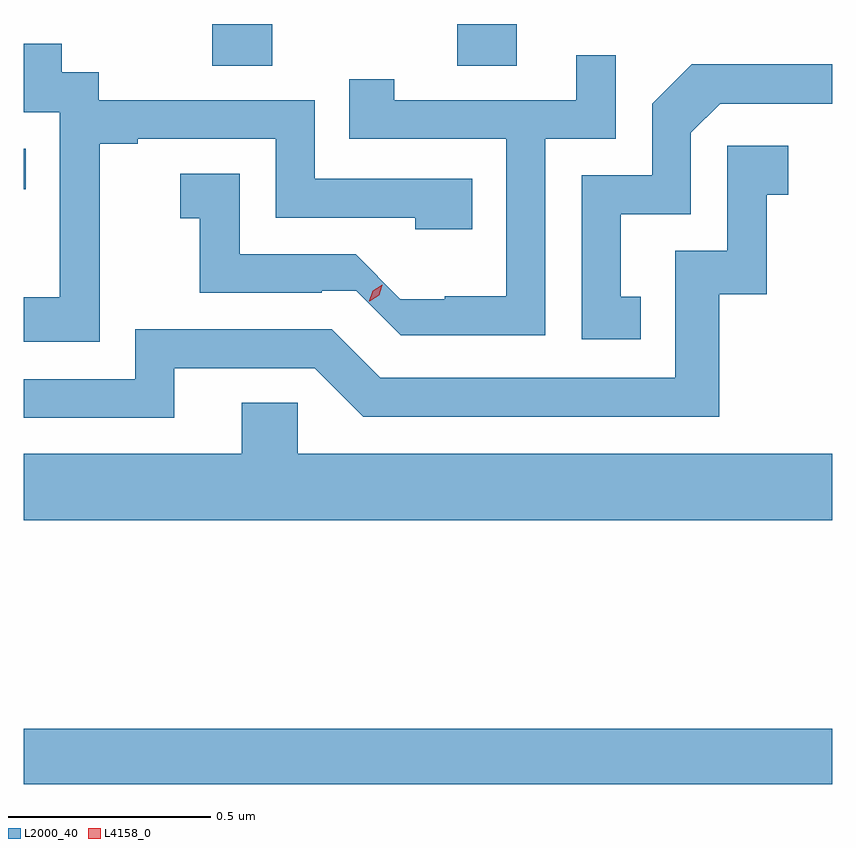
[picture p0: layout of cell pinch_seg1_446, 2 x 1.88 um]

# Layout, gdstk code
import gdstk
lib = gdstk.Library(unit=1e-6, precision=1e-09)
def R(c, l, rs):  # rectangles x0, y0, x1, y1
    for r in rs: c.add(gdstk.rectangle(r[:2], r[2:], *l))
def P(c, l, *ps):  # polygons
    for p in ps: c.add(gdstk.Polygon(p, *l))
L2000_40 = (2000, 40)
L4158_0 = (4158, 0)

pinch_seg1_446 = lib.new_cell('pinch_seg1_446')
R(pinch_seg1_446, L2000_40, [(922.566,520.444,924.566,520.58), (922.566,521.914,922.571,522.015), (923.033,522.22,923.181,522.323), (923.638,522.22,923.785,522.323)])
P(pinch_seg1_446, L2000_40, [(922.755,521.743),(922.754,521.743),(922.754,522.027),(922.849,522.027),(922.849,522.039),(923.19,522.039),(923.19,521.844),(923.535,521.844),(923.535,521.816),(923.675,521.816),(923.675,521.94),(923.286,521.94),(923.286,522.135),(922.752,522.135),(922.752,522.204),(922.66,522.204),(922.66,522.274),(922.566,522.274),(922.566,522.105),(922.656,522.105),(922.656,521.876),(922.655,521.876),(922.655,521.647),(922.566,521.647),(922.566,521.537),(922.755,521.537)],
  [(923.856,522.039),(924.03,522.039),(924.03,522.246),(923.933,522.246),(923.933,522.135),(923.482,522.135),(923.482,522.187),(923.371,522.187),(923.371,522.039),(923.76,522.039),(923.76,521.65),(923.608,521.65),(923.608,521.643),(923.498,521.643),(923.387,521.754),(923.1,521.754),(923.1,521.953),(922.953,521.953),(922.953,521.843),(923.002,521.843),(923.002,521.658),(923.303,521.658),(923.303,521.664),(923.388,521.664),(923.499,521.553),(923.856,521.553)],
  [(924.092,521.649),(924.043,521.649),(924.043,521.853),(924.216,521.853),(924.216,522.054),(924.288,522.126),(924.566,522.126),(924.566,522.224),(924.218,522.224),(924.12,522.126),(924.12,521.949),(923.946,521.949),(923.946,521.544),(924.092,521.544)],
  [(922.939,521.472),(923.286,521.472),(923.406,521.352),(924.286,521.352),(924.286,521.655),(924.404,521.655),(924.404,521.901),(924.457,521.901),(924.457,522.022),(924.306,522.022),(924.306,521.763),(924.177,521.763),(924.177,521.448),(923.448,521.448),(923.328,521.568),(922.842,521.568),(922.842,521.445),(922.566,521.445),(922.566,521.349),(922.939,521.349)],
  [(924.566,521.26),(923.244,521.26),(923.244,521.387),(923.105,521.387),(923.105,521.26),(922.566,521.26),(922.566,521.096),(924.566,521.096)])
P(pinch_seg1_446, L4158_0, [(923.421,521.638),(923.421,521.639),(923.43,521.664),(923.453,521.678),(923.453,521.678),(923.453,521.677),(923.445,521.652),(923.422,521.638)])

lib.write_gds('pinch_seg1_446.gds')
